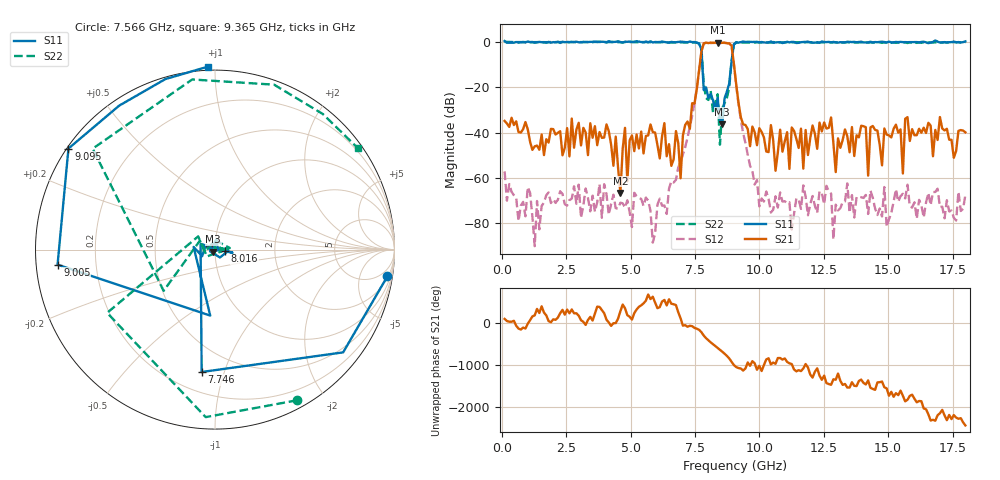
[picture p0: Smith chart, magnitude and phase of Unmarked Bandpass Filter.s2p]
!Agilent Technologies,E8363B,SG43030126,A.07.50.67
!Agilent E8363B: A.07.50.67
!Date: Monday, August 08, 1988 05:10:13
!Correction: S11(Full 2 Port(1,2))
!S21(Full 2 Port(1,2))
!S12(Full 2 Port(1,2))
!S22(Full 2 Port(1,2))
!S2P File: Measurements: S11, S21, S12, S22:
# Hz S  dB  R 50
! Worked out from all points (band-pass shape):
!   200 points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, 99.95 MHz to 18 GHz, reference 50 ohm
!   highest |S21| = -0.25 dB at 8.375 GHz (marker M1); lowest = -66.7 dB at 4.597 GHz (marker M2)
!   |S21| within 3 dB of the highest: 7.768 GHz to 8.934 GHz (1.166 GHz wide, 14 % of centre)
!   lowest |S11| = -36.4 dB at 8.555 GHz (marker M3), VSWR 1.03, Z = 49 - j1.11 ohm
!   |S11| at or under -10 dB: 7.779 GHz to 8.903 GHz (1.123 GHz wide, 13.5 % of centre)
!   |S22| runs from -45.4 to 0.0 dB; largest |S21 - S12| = 0.044
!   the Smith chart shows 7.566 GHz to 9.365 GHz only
!   S11 on the Smith chart (normalised r, x): 7.566 GHz: 2, -13; 7.746 GHz: 0.33, -0.84; 8.016 GHz: 1.12, -0.02; 9.005 GHz: 0.06, -0.05; 9.095 GHz: 0.00, +0.31; 9.365 GHz: -0.02, +0.96
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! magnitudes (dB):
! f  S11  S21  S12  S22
! 99.95 MHz  0.4  -34.9  -57.2  0.0
! 3.158 GHz  0.0  -37.9  -72.2  -0.1
! 4.418 GHz  0.0  -41.8  -73.4  0.0
! 4.597 GHz  0.0  -66.7  -71.0  -0.1
! 4.777 GHz  0.1  -37.9  -73.2  0.0
! 4.867 GHz  0.1  -61.6  -69.9  -0.1
! 6.127 GHz  0.0  -51.4  -69.2  -0.1
! 6.936 GHz  0.1  -60.2  -53.0  -0.1
! 7.566 GHz  -0.2  -20.8  -20.4  -0.4
! 7.746 GHz  -3.3  -4.1  -4.2  -3.1
! 8.016 GHz  -24.8  -0.5  -0.4  -25.6
! 8.375 GHz  -24.7  -0.2  -0.4  -23.1
! 8.555 GHz  -36.4  -0.4  -0.3  -29.3
! 9.005 GHz  -1.1  -9.5  -9.7  -1.1
! 9.095 GHz  -0.1  -18.5  -19.1  -0.4
! 9.365 GHz  0.2  -36.4  -40.2  -0.2
! 9.994 GHz  -0.2  -38.1  -72.6  -0.2
! 12.06 GHz  -0.4  -36.9  -68.0  -0.1
! 12.78 GHz  -0.2  -33.4  -66.9  -0.2
! 12.96 GHz  -0.2  -57.5  -71.9  -0.1
! 15.03 GHz  0.1  -41.3  -78.4  -0.2
! 18 GHz  0.3  -39.9  -67.6  0.0
